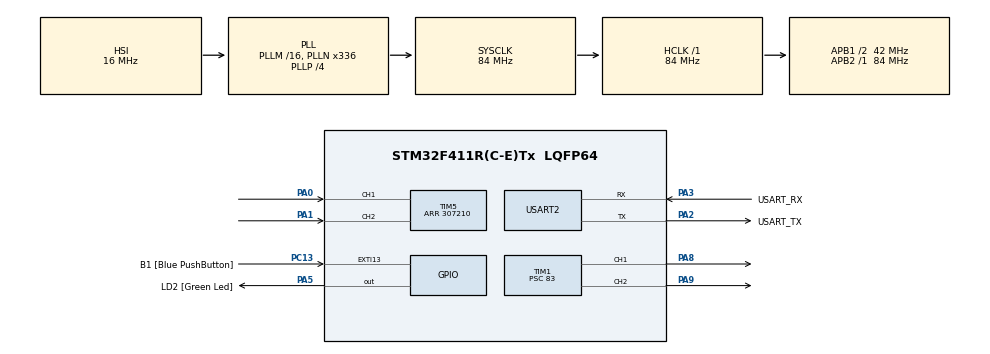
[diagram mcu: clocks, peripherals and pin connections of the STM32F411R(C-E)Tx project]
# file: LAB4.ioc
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ARM.CMSIS.5.6.0.CMSISJjCORE=true
ARM.CMSIS.5.6.0.CMSISJjDSP=Library
Mcu.Family=STM32F4
Mcu.Name=STM32F411R(C-E)Tx
Mcu.Package=LQFP64
NVIC.PriorityGroup=NVIC_PRIORITYGROUP_0
PA0-WKUP.Signal=S_TIM5_CH1
PA1.Signal=S_TIM5_CH2
PA13.GPIO_Label=TMS
PA13.Mode=Serial_Wire
PA13.Signal=SYS_JTMS-SWDIO
PA14.GPIO_Label=TCK
PA14.Mode=Serial_Wire
PA14.Signal=SYS_JTCK-SWCLK
PA2.GPIO_Label=USART_TX
PA2.Mode=Asynchronous
PA2.Signal=USART2_TX
PA3.GPIO_Label=USART_RX
PA3.Mode=Asynchronous
PA3.Signal=USART2_RX
PA5.GPIO_Label=LD2 [Green Led]
PA5.Signal=GPIO_Output
PA8.Signal=S_TIM1_CH1
PA9.Signal=S_TIM1_CH2
PB3.GPIO_Label=SWO
PB3.Signal=SYS_JTDO-SWO
PC13-ANTI_TAMP.GPIO_Label=B1 [Blue PushButton]
PC13-ANTI_TAMP.GPIO_ModeDefaultEXTI=GPIO_MODE_IT_FALLING
PC13-ANTI_TAMP.Signal=GPXTI13
PC14-OSC32_IN.Mode=LSE-External-Oscillator
PC14-OSC32_IN.Signal=RCC_OSC32_IN
PC15-OSC32_OUT.Mode=LSE-External-Oscillator
PC15-OSC32_OUT.Signal=RCC_OSC32_OUT
PH0\ -\ OSC_IN.Mode=HSE-External-Clock-Source
PH0\ -\ OSC_IN.Signal=RCC_OSC_IN
PH1\ -\ OSC_OUT.Mode=HSE-External-Clock-Source
PH1\ -\ OSC_OUT.Signal=RCC_OSC_OUT
ProjectManager.HeapSize=0x200
ProjectManager.StackSize=0x400
ProjectManager.TargetToolchain=STM32CubeIDE
RCC.48MHZClocksFreq_Value=84000000
RCC.AHBFreq_Value=84000000
RCC.APB1CLKDivider=RCC_HCLK_DIV2
RCC.APB1Freq_Value=42000000
RCC.APB1TimFreq_Value=84000000
RCC.APB2Freq_Value=84000000
RCC.APB2TimFreq_Value=84000000
RCC.CortexFreq_Value=84000000
RCC.FLatency-AdvancedSettings=FLASH_LATENCY_2
RCC.HCLKFreq_Value=84000000
RCC.HSE_VALUE=8000000
RCC.HSI_VALUE=16000000
RCC.PLLN=336
RCC.PLLP=RCC_PLLP_DIV4
RCC.SYSCLKFreq_VALUE=84000000
RCC.SYSCLKSource=RCC_SYSCLKSOURCE_PLLCLK
RCC.VCOOutputFreq_Value=336000000
SH.S_TIM1_CH1.0=TIM1_CH1,PWM Generation1 CH1
SH.S_TIM1_CH2.0=TIM1_CH2,PWM Generation2 CH2
SH.S_TIM5_CH1.0=TIM5_CH1,Encoder_Interface
SH.S_TIM5_CH2.0=TIM5_CH2,Encoder_Interface
TIM1.AutoReloadPreload=TIM_AUTORELOAD_PRELOAD_DISABLE
TIM1.Channel-PWM\ Generation1\ CH1=TIM_CHANNEL_1
TIM1.Channel-PWM\ Generation2\ CH2=TIM_CHANNEL_2
TIM1.Period=1000
TIM1.Prescaler=83
TIM1.Pulse-PWM\ Generation1\ CH1=0
TIM1.Pulse-PWM\ Generation2\ CH2=0
TIM5.EncoderMode=TIM_ENCODERMODE_TI12
TIM5.Period=307210
USART2.VirtualMode=VM_ASYNC
VP_ARM.CMSIS_VS_CMSISJjCORE_5.3.0_5.6.0.Mode=CMSISJjCORE
VP_ARM.CMSIS_VS_CMSISJjDSP_1.7.0_5.6.0.Mode=CMSISJjDSP
VP_TIM1_VS_ClockSourceINT.Mode=Internal
board=NUCLEO-F411RE

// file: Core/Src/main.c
/* USER CODE BEGIN Header */
/**
  ******************************************************************************
  * @file           : main.c
  * @brief          : Main program body
  ******************************************************************************
  * @attention
  *
  * Copyright (c) 2023 STMicroelectronics.
  * All rights reserved.
  *
  * This software is licensed under terms that can be found in the LICENSE file
  * in the root directory of this software component.
  * If no LICENSE file comes with this software, it is provided AS-IS.
  *
  ******************************************************************************
  */
/* USER CODE END Header */
#include "main.h"

/* USER CODE BEGIN Includes */
#include "arm_math.h"

/* USER CODE END Includes */

TIM_HandleTypeDef htim1;
TIM_HandleTypeDef htim5;

UART_HandleTypeDef huart2;

/* USER CODE BEGIN PV */
arm_pid_instance_f32 PID = {0};
float position = 0;
float setposition = 0;
float Vfeedback = 0;
float QEIReadRaw = 0;
static uint32_t timestamp = 0;
/* USER CODE END PV */

void SystemClock_Config(void);
static void MX_GPIO_Init(void);
static void MX_USART2_UART_Init(void);
static void MX_TIM5_Init(void);
static void MX_TIM1_Init(void);

int main(void)
{

  /* MCU Configuration--------------------------------------------------------*/

  /* Reset of all peripherals, Initializes the Flash interface and the Systick. */
  HAL_Init();

  /* Configure the system clock */
  SystemClock_Config();

  /* Initialize all configured peripherals */
  MX_GPIO_Init();
  MX_USART2_UART_Init();
  MX_TIM5_Init();
  MX_TIM1_Init();
  /* USER CODE BEGIN 2 */
  PID.Kp = 25;
  PID.Ki = 0.00001;
  PID.Kd = 4;
  arm_pid_init_f32(&PID,0);

  HAL_TIM_Encoder_Start(&htim5, TIM_CHANNEL_1|TIM_CHANNEL_2);

  HAL_TIM_Base_Start(&htim1);
  HAL_TIM_PWM_Start(&htim1, TIM_CHANNEL_1);

  HAL_TIM_PWM_Start(&htim1, TIM_CHANNEL_2);
  /* USER CODE END 2 */

  /* Infinite loop */
  while (1)
  {

    /* USER CODE BEGIN 3 */

	  if(HAL_GetTick()>timestamp)
	  {
		  timestamp = HAL_GetTick() + 20;
		  QEIReadRaw = __HAL_TIM_GET_COUNTER(&htim5)*0.1171875;
		  Vfeedback = arm_pid_f32(&PID,setposition - QEIReadRaw);
		  if (setposition >= 0 && setposition <= 36000)
		  {
			  if(fabs(setposition - QEIReadRaw) < 0.8)
			  {
				  __HAL_TIM_SET_COMPARE(&htim1,TIM_CHANNEL_1,0);
				  __HAL_TIM_SET_COMPARE(&htim1,TIM_CHANNEL_2,0);
				  Vfeedback = 0;
			  }
			  else if(Vfeedback > 0)
			  {
				  if(Vfeedback < 40)
				  {
					  __HAL_TIM_SET_COMPARE(&htim1,TIM_CHANNEL_1,0);
					  __HAL_TIM_SET_COMPARE(&htim1,TIM_CHANNEL_2,20);
				  }
				  else
				  {
					  __HAL_TIM_SET_COMPARE(&htim1,TIM_CHANNEL_1,0);
					  __HAL_TIM_SET_COMPARE(&htim1,TIM_CHANNEL_2,Vfeedback);
				  }
			  }
			  else if(Vfeedback < 0)
			  {

				  if(Vfeedback > -40)
				  {
					  __HAL_TIM_SET_COMPARE(&htim1,TIM_CHANNEL_1,20);
					  __HAL_TIM_SET_COMPARE(&htim1,TIM_CHANNEL_2,0);
				  }
				  else
				  {
					  __HAL_TIM_SET_COMPARE(&htim1,TIM_CHANNEL_1,Vfeedback*(-1));
					  __HAL_TIM_SET_COMPARE(&htim1,TIM_CHANNEL_2,0);
				  }
			  }
		  }
		  else
		  {
			  Vfeedback = 0;
		  }
	  }
  }
  /* USER CODE END 3 */
}

void SystemClock_Config(void)
{
  RCC_OscInitTypeDef RCC_OscInitStruct = {0};
  RCC_ClkInitTypeDef RCC_ClkInitStruct = {0};

  /** Configure the main internal regulator output voltage
  */
  __HAL_RCC_PWR_CLK_ENABLE();
  __HAL_PWR_VOLTAGESCALING_CONFIG(PWR_REGULATOR_VOLTAGE_SCALE1);

  /** Initializes the RCC Oscillators according to the specified parameters
  * in the RCC_OscInitTypeDef structure.
  */
  RCC_OscInitStruct.OscillatorType = RCC_OSCILLATORTYPE_HSI;
  RCC_OscInitStruct.HSIState = RCC_HSI_ON;
  RCC_OscInitStruct.HSICalibrationValue = RCC_HSICALIBRATION_DEFAULT;
  RCC_OscInitStruct.PLL.PLLState = RCC_PLL_ON;
  RCC_OscInitStruct.PLL.PLLSource = RCC_PLLSOURCE_HSI;
  RCC_OscInitStruct.PLL.PLLM = 16;
  RCC_OscInitStruct.PLL.PLLN = 336;
  RCC_OscInitStruct.PLL.PLLP = RCC_PLLP_DIV4;
  RCC_OscInitStruct.PLL.PLLQ = 4;
  if (HAL_RCC_OscConfig(&RCC_OscInitStruct) != HAL_OK)
  {
    Error_Handler();
  }

  /** Initializes the CPU, AHB and APB buses clocks
  */
  RCC_ClkInitStruct.ClockType = RCC_CLOCKTYPE_HCLK|RCC_CLOCKTYPE_SYSCLK
                              |RCC_CLOCKTYPE_PCLK1|RCC_CLOCKTYPE_PCLK2;
  RCC_ClkInitStruct.SYSCLKSource = RCC_SYSCLKSOURCE_PLLCLK;
  RCC_ClkInitStruct.AHBCLKDivider = RCC_SYSCLK_DIV1;
  RCC_ClkInitStruct.APB1CLKDivider = RCC_HCLK_DIV2;
  RCC_ClkInitStruct.APB2CLKDivider = RCC_HCLK_DIV1;

  if (HAL_RCC_ClockConfig(&RCC_ClkInitStruct, FLASH_LATENCY_2) != HAL_OK)
  {
    Error_Handler();
  }
}

static void MX_TIM1_Init(void)
{

  TIM_ClockConfigTypeDef sClockSourceConfig = {0};
  TIM_MasterConfigTypeDef sMasterConfig = {0};
  TIM_OC_InitTypeDef sConfigOC = {0};
  TIM_BreakDeadTimeConfigTypeDef sBreakDeadTimeConfig = {0};

  htim1.Instance = TIM1;
  htim1.Init.Prescaler = 83;
  htim1.Init.CounterMode = TIM_COUNTERMODE_UP;
  htim1.Init.Period = 1000;
  htim1.Init.ClockDivision = TIM_CLOCKDIVISION_DIV1;
  htim1.Init.RepetitionCounter = 0;
  htim1.Init.AutoReloadPreload = TIM_AUTORELOAD_PRELOAD_DISABLE;
  if (HAL_TIM_Base_Init(&htim1) != HAL_OK)
  {
    Error_Handler();
  }
  sClockSourceConfig.ClockSource = TIM_CLOCKSOURCE_INTERNAL;
  if (HAL_TIM_ConfigClockSource(&htim1, &sClockSourceConfig) != HAL_OK)
  {
    Error_Handler();
  }
  if (HAL_TIM_PWM_Init(&htim1) != HAL_OK)
  {
    Error_Handler();
  }
  sMasterConfig.MasterOutputTrigger = TIM_TRGO_RESET;
  sMasterConfig.MasterSlaveMode = TIM_MASTERSLAVEMODE_DISABLE;
  if (HAL_TIMEx_MasterConfigSynchronization(&htim1, &sMasterConfig) != HAL_OK)
  {
    Error_Handler();
  }
  sConfigOC.OCMode = TIM_OCMODE_PWM1;
  sConfigOC.Pulse = 0;
  sConfigOC.OCPolarity = TIM_OCPOLARITY_HIGH;
  sConfigOC.OCNPolarity = TIM_OCNPOLARITY_HIGH;
  sConfigOC.OCFastMode = TIM_OCFAST_DISABLE;
  sConfigOC.OCIdleState = TIM_OCIDLESTATE_RESET;
  sConfigOC.OCNIdleState = TIM_OCNIDLESTATE_RESET;
  if (HAL_TIM_PWM_ConfigChannel(&htim1, &sConfigOC, TIM_CHANNEL_1) != HAL_OK)
  {
    Error_Handler();
  }
  if (HAL_TIM_PWM_ConfigChannel(&htim1, &sConfigOC, TIM_CHANNEL_2) != HAL_OK)
  {
    Error_Handler();
  }
  sBreakDeadTimeConfig.OffStateRunMode = TIM_OSSR_DISABLE;
  sBreakDeadTimeConfig.OffStateIDLEMode = TIM_OSSI_DISABLE;
  sBreakDeadTimeConfig.LockLevel = TIM_LOCKLEVEL_OFF;
  sBreakDeadTimeConfig.DeadTime = 0;
  sBreakDeadTimeConfig.BreakState = TIM_BREAK_DISABLE;
  sBreakDeadTimeConfig.BreakPolarity = TIM_BREAKPOLARITY_HIGH;
  sBreakDeadTimeConfig.AutomaticOutput = TIM_AUTOMATICOUTPUT_DISABLE;
  if (HAL_TIMEx_ConfigBreakDeadTime(&htim1, &sBreakDeadTimeConfig) != HAL_OK)
  {
    Error_Handler();
  }
  HAL_TIM_MspPostInit(&htim1);

}

static void MX_TIM5_Init(void)
{

  TIM_Encoder_InitTypeDef sConfig = {0};
  TIM_MasterConfigTypeDef sMasterConfig = {0};

  htim5.Instance = TIM5;
  htim5.Init.Prescaler = 0;
  htim5.Init.CounterMode = TIM_COUNTERMODE_UP;
  htim5.Init.Period = 307210;
  htim5.Init.ClockDivision = TIM_CLOCKDIVISION_DIV1;
  htim5.Init.AutoReloadPreload = TIM_AUTORELOAD_PRELOAD_DISABLE;
  sConfig.EncoderMode = TIM_ENCODERMODE_TI12;
  sConfig.IC1Polarity = TIM_ICPOLARITY_RISING;
  sConfig.IC1Selection = TIM_ICSELECTION_DIRECTTI;
  sConfig.IC1Prescaler = TIM_ICPSC_DIV1;
  sConfig.IC1Filter = 0;
  sConfig.IC2Polarity = TIM_ICPOLARITY_RISING;
  sConfig.IC2Selection = TIM_ICSELECTION_DIRECTTI;
  sConfig.IC2Prescaler = TIM_ICPSC_DIV1;
  sConfig.IC2Filter = 0;
  if (HAL_TIM_Encoder_Init(&htim5, &sConfig) != HAL_OK)
  {
    Error_Handler();
  }
  sMasterConfig.MasterOutputTrigger = TIM_TRGO_RESET;
  sMasterConfig.MasterSlaveMode = TIM_MASTERSLAVEMODE_DISABLE;
  if (HAL_TIMEx_MasterConfigSynchronization(&htim5, &sMasterConfig) != HAL_OK)
  {
    Error_Handler();
  }

}

static void MX_USART2_UART_Init(void)
{

  huart2.Instance = USART2;
  huart2.Init.BaudRate = 115200;
  huart2.Init.WordLength = UART_WORDLENGTH_8B;
  huart2.Init.StopBits = UART_STOPBITS_1;
  huart2.Init.Parity = UART_PARITY_NONE;
  huart2.Init.Mode = UART_MODE_TX_RX;
  huart2.Init.HwFlowCtl = UART_HWCONTROL_NONE;
  huart2.Init.OverSampling = UART_OVERSAMPLING_16;
  if (HAL_UART_Init(&huart2) != HAL_OK)
  {
    Error_Handler();
  }

}

static void MX_GPIO_Init(void)
{
  GPIO_InitTypeDef GPIO_InitStruct = {0};

  /* GPIO Ports Clock Enable */
  __HAL_RCC_GPIOC_CLK_ENABLE();
  __HAL_RCC_GPIOH_CLK_ENABLE();
  __HAL_RCC_GPIOA_CLK_ENABLE();
  __HAL_RCC_GPIOB_CLK_ENABLE();

  /*Configure GPIO pin Output Level */
  HAL_GPIO_WritePin(LD2_GPIO_Port, LD2_Pin, GPIO_PIN_RESET);

  /*Configure GPIO pin : B1_Pin */
  GPIO_InitStruct.Pin = B1_Pin;
  GPIO_InitStruct.Mode = GPIO_MODE_IT_FALLING;
  GPIO_InitStruct.Pull = GPIO_NOPULL;
  HAL_GPIO_Init(B1_GPIO_Port, &GPIO_InitStruct);

  /*Configure GPIO pin : LD2_Pin */
  GPIO_InitStruct.Pin = LD2_Pin;
  GPIO_InitStruct.Mode = GPIO_MODE_OUTPUT_PP;
  GPIO_InitStruct.Pull = GPIO_NOPULL;
  GPIO_InitStruct.Speed = GPIO_SPEED_FREQ_LOW;
  HAL_GPIO_Init(LD2_GPIO_Port, &GPIO_InitStruct);

}

void Error_Handler(void)
{
  __disable_irq();
  while (1)
  {
  }
}
